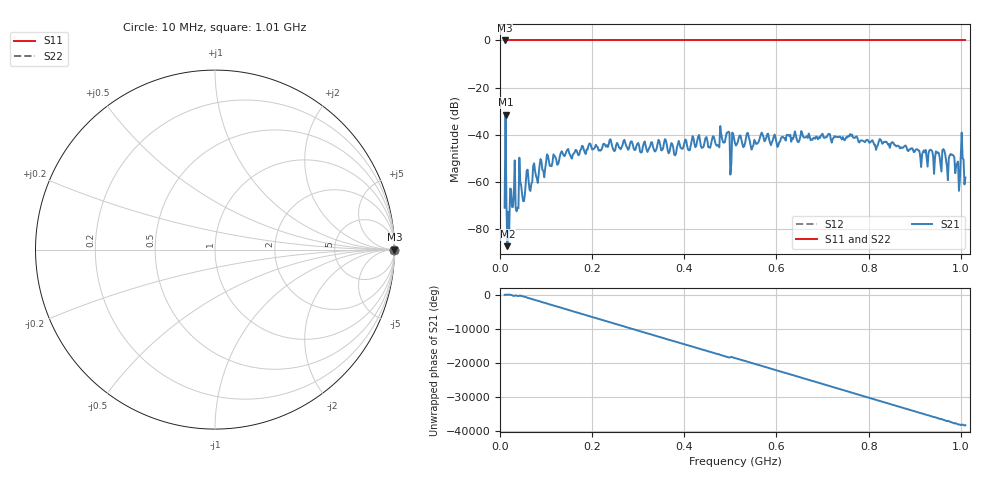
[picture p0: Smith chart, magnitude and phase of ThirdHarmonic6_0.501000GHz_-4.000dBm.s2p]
! 8/15/2025 3:03:23 PM
! C:\ANRITSUVNA\TEMP\TEMP.S2P
! CHANNEL.1
! TR.MEASUREMENT
! RAW.DATA
! RF.CORRECTION.OFF
! AVERAGING.OFF
! IF.BANDWIDTH: 5KHZ
! SWEEPTYPE:  FREQ.SWEEP(Linear)
! Reference Plane Port Info
! PORT:  PORT1  PORT2
! DISTANCE:  0  m  0  m
! TIME:  0  s  0  s
! PHASE.OFFSET:  0  deg.  0  deg.
! LOSS:  0  dB  0  dB
! REF.LOSS:  0  dB  0  dB
! REF.FREQ:  0  Hz  0  Hz
! Power Info
! POWER:  -20  dBm  -20  dBm
! EFF.POWER:  -20  dBm  -20  dBm
! SOURCE.ATTEN:  0  dB  0  dB
! TEST.ATTEN:  0  dB  0  dB
# GHZ S RI R 50.0
! FREQ.GHZ  S11RE  S11IM  S21RE  S21IM  S12RE  S12IM  S22RE  S22IM
!; PortSelection: Port_12
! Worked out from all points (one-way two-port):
!   501 points, 10 MHz to 1.01 GHz, reference 50 ohm
!   highest |S21| = -31.46 dB at 12 MHz (marker M1); lowest = -87.3 dB at 16 MHz (marker M2)
!   lowest |S11| = 0.0 dB at 10 MHz (marker M3)
!   |S11| at or under -10 dB: nowhere
!   |S22| runs from 0.0 to 0.0 dB; largest |S21 - S12| = 1
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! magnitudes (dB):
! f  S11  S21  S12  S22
! 10 MHz  0.0  -71.0  0.0  0.0
! 12 MHz  0.0  -31.5  0.0  0.0
! 16 MHz  0.0  -87.3  0.0  0.0
! 18 MHz  0.0  -72.7  0.0  0.0
! 28 MHz  0.0  -70.7  0.0  0.0
! 38 MHz  0.0  -71.0  0.0  0.0
! 46 MHz  0.0  -61.6  0.0  0.0
! 52 MHz  0.0  -68.2  0.0  0.0
! 58 MHz  0.0  -55.2  0.0  0.0
! 66 MHz  0.0  -63.9  0.0  0.0
! 88 MHz  0.0  -50.4  0.0  0.0
! 178 MHz  0.0  -44.7  0.0  0.0
! 344 MHz  0.0  -42.2  0.0  0.0
! 510 MHz  0.0  -43.7  0.0  0.0
! 678 MHz  0.0  -42.2  0.0  0.0
! 844 MHz  0.0  -43.9  0.0  0.0
! 964 MHz  0.0  -46.6  0.0  0.0
! 972 MHz  0.0  -59.3  0.0  0.0
! 980 MHz  0.0  -48.6  0.0  0.0
! 994 MHz  0.0  -51.4  0.0  0.0
! 1.002 GHz  0.0  -39.1  0.0  0.0
! 1.01 GHz  0.0  -58.2  0.0  0.0
